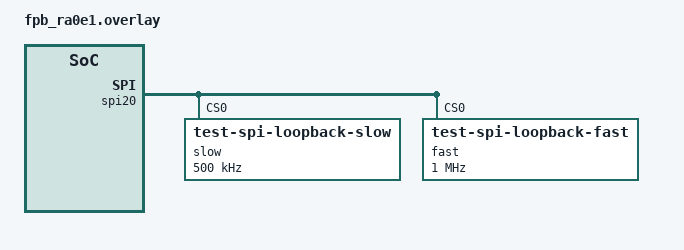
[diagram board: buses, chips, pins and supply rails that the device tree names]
/*
 * Copyright (c) 2026 Renesas Electronics Corporation
 * SPDX-License-Identifier: Apache-2.0
 *
 * SPI20 is the only SAU SPI instance free on this board: SPI00 shares SAU0 channel 0 with the
 * console uart0, and SPI11 uses the clock crystal pins. The SAU has no internal loopback, so
 * SO20 (P1_9) and SI20 (P1_10) must be wired together.
 */

&spi20 {
	status = "okay";

	slow@0 {
		compatible = "test-spi-loopback-slow";
		reg = <0>;
		spi-max-frequency = <500000>;
	};

	fast@0 {
		compatible = "test-spi-loopback-fast";
		reg = <0>;
		spi-max-frequency = <1000000>;
	};
};
